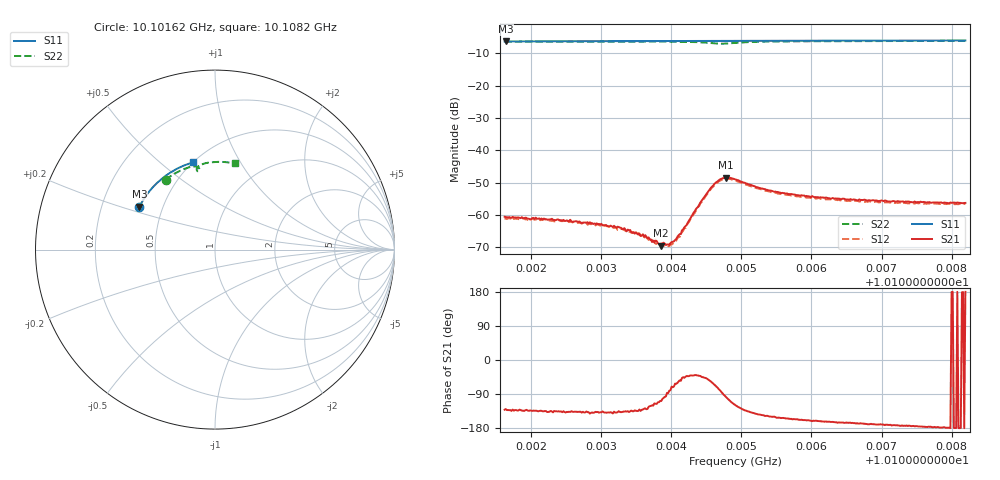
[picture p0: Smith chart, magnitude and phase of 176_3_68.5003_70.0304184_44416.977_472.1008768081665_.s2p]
#  HZ  S  RI  R  50.00
! Rohde & Schwarz Vector Network Analyzer
! Rohde-Schwarz,ZNB20-2Port,1311601062101988,3.16
! Created: UTC 3/20/2024, 4:56:25 PM
! freq[Hz]  re:S11  im:S11  re:S21  im:S21  re:S12  im:S12  re:S22  im:S22
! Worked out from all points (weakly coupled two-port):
!   401 points, 10.10162 GHz to 10.1082 GHz, reference 50 ohm
!   highest |S21| = -48.38 dB at 10.10478 GHz (marker M1); lowest = -69.4 dB at 10.10386 GHz (marker M2)
!   lowest |S11| = -6.3 dB at 10.10164 GHz (marker M3), VSWR 2.88, Z = 18.4 + j11.5 ohm
!   |S11| at or under -10 dB: nowhere
!   |S22| runs from -7.0 to -6.1 dB; largest |S21 - S12| = 0.00037
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1.0101624e10  -0.4214 0.2381  -0.000622 -0.00071  -0.000533 -0.000709  -0.2746 0.3894
1.0101641e10  -0.4208 0.2391  -0.000596 -0.000723  -0.000538 -0.0007  -0.2737 0.3901
1.0102199e10  -0.4044 0.269  -0.000612 -0.000623  -0.000568 -0.000653  -0.2441 0.4113
1.0102725e10  -0.3871 0.2958  -0.000572 -0.000499  -0.000499 -0.000548  -0.2144 0.4291
1.010307e10  -0.375 0.313  -0.00053 -0.000462  -0.000471 -0.000499  -0.194 0.4395
1.0103267e10  -0.3677 0.3224  -0.000468 -0.000437  -0.000445 -0.000421  -0.1818 0.4451
1.0103563e10  -0.3562 0.3363  -0.000333 -0.000341  -0.000308 -0.000372  -0.1629 0.4527
1.0103826e10  -0.3456 0.3481  -0.000129 -0.00033  -0.000122 -0.000318  -0.1448 0.4585
1.0103859e10  -0.3443 0.3496  -0.000106 -0.000322  -7.11e-05 -0.000357  -0.1425 0.4591
1.0103957e10  -0.3402 0.354  1.76e-05 -0.000351  5.4e-05 -0.000327  -0.1352 0.4609
1.0104039e10  -0.3367 0.3577  0.000136 -0.000369  0.000174 -0.000328  -0.1288 0.4619
1.0104171e10  -0.3311 0.3632  0.000423 -0.000428  0.000419 -0.000398  -0.118 0.4631
1.0104417e10  -0.3204 0.3737  0.00116 -0.00105  0.00121 -0.000937  -0.0959 0.4592
1.0104565e10  -0.3137 0.3797  0.00145 -0.0022  0.00155 -0.002  -0.0862 0.4481
1.010468e10  -0.3084 0.3842  0.000763 -0.00338  0.00102 -0.00316  -0.089 0.4378
1.0104779e10  -0.3039 0.3879  -0.000474 -0.00378  -0.000122 -0.00365  -0.0976 0.4375
1.010491e10  -0.298 0.3931  -0.00169 -0.00315  -0.00138 -0.00315  -0.102 0.4487
1.0105436e10  -0.2729 0.4127  -0.00205 -0.00119  -0.00184 -0.00133  -0.0686 0.4769
1.0106011e10  -0.2439 0.4322  -0.00187 -0.000628  -0.00169 -0.000782  -0.0284 0.4857
1.010652e10  -0.2171 0.4475  -0.0017 -0.000431  -0.00157 -0.000564  0.00577 0.4885
1.0107112e10  -0.185 0.4631  -0.00161 -0.000242  -0.00152 -0.000371  0.0444 0.4884
1.0108196e10  -0.1233 0.4854  -0.00154 5.16e-06  -0.00147 -0.00013  0.1138 0.4797
